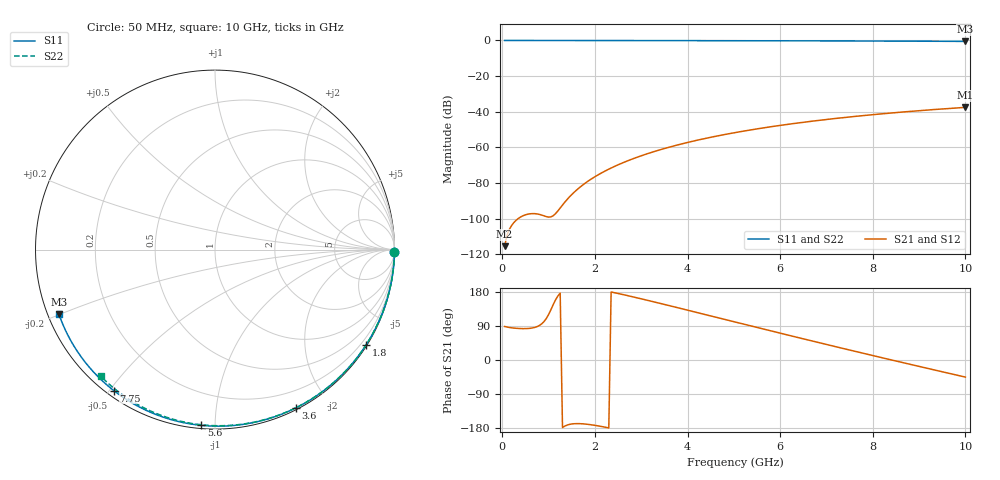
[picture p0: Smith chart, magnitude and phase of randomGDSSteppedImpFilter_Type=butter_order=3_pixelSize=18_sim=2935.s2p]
! freq	dB(S11)	phase(S11)	dB(S12)	phase(S12)
!  dB(S21)	phase(S21)	dB(S22)	phase(S22)
!S-par simulation data
#  GHz  S  DB  R 50
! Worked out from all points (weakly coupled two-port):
!   200 points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, 50 MHz to 10 GHz, reference 50 ohm
!   highest |S21| = -37.55 dB at 10 GHz (marker M1); lowest = -115.4 dB at 50 MHz (marker M2)
!   lowest |S11| = -0.5 dB at 10 GHz (marker M3), VSWR 32.99, Z = 1.58 - j9.93 ohm
!   |S11| at or under -10 dB: nowhere
!   |S22| runs from -0.4 to 0.0 dB; largest |S21 - S12| = 0
!   S11 on the Smith chart (normalised r, x): 50 MHz: open; 1.8 GHz: 0.03, -3.45; 3.6 GHz: 0.02, -1.63; 5.6 GHz: 0.02, -0.93; 7.75 GHz: 0.02, -0.51; 10 GHz: 0.03, -0.20
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0.05  -0.00 -0.9  -115.43 88.4  -115.43 88.4  -0.00 -0.8
0.45  -0.01 -8.2  -98.34 82.8  -98.34 82.8  -0.01 -6.9
0.9  -0.02 -16.4  -98.41 101.2  -98.41 101.2  -0.02 -13.6
1.3  -0.03 -23.5  -92.33 -178.2  -92.33 -178.2  -0.02 -19.6
1.75  -0.04 -31.5  -80.85 -168.5  -80.85 -168.5  -0.03 -26.3
1.8  -0.04 -32.4  -79.89 -169.1  -79.89 -169.1  -0.03 -27.0
1.95  -0.04 -35.0  -77.27 -171.5  -77.27 -171.5  -0.04 -29.2
2.1  -0.05 -37.6  -74.94 -174.5  -74.94 -174.5  -0.04 -31.4
2.3  -0.05 -41.1  -72.20 -179.3  -72.20 -179.3  -0.04 -34.4
2.5  -0.06 -44.5  -69.78 175.6  -69.78 175.6  -0.05 -37.3
2.9  -0.07 -51.3  -65.63 164.4  -65.63 164.4  -0.06 -43.0
3.4  -0.08 -59.7  -61.38 149.7  -61.38 149.7  -0.07 -50.1
3.6  -0.08 -63.0  -59.91 143.7  -59.91 143.7  -0.07 -52.9
4.3  -0.11 -74.3  -55.44 122.4  -55.44 122.4  -0.09 -62.5
5.05  -0.13 -86.0  -51.59 99.6  -51.59 99.6  -0.11 -72.5
5.6  -0.16 -94.4  -49.21 82.9  -49.21 82.9  -0.13 -79.6
6.15  -0.18 -102.6  -47.12 66.3  -47.12 66.3  -0.15 -86.6
6.7  -0.22 -110.6  -45.27 49.9  -45.27 49.9  -0.18 -93.4
7.75  -0.29 -125.6  -42.27 19.0  -42.27 19.0  -0.24 -106.1
8.35  -0.34 -134.1  -40.81 1.6  -40.81 1.6  -0.29 -113.1
9.2  -0.43 -146.1  -39.01 -22.6  -39.01 -22.6  -0.36 -122.9
10  -0.53 -157.5  -37.55 -45.1  -37.55 -45.1  -0.45 -132.0
